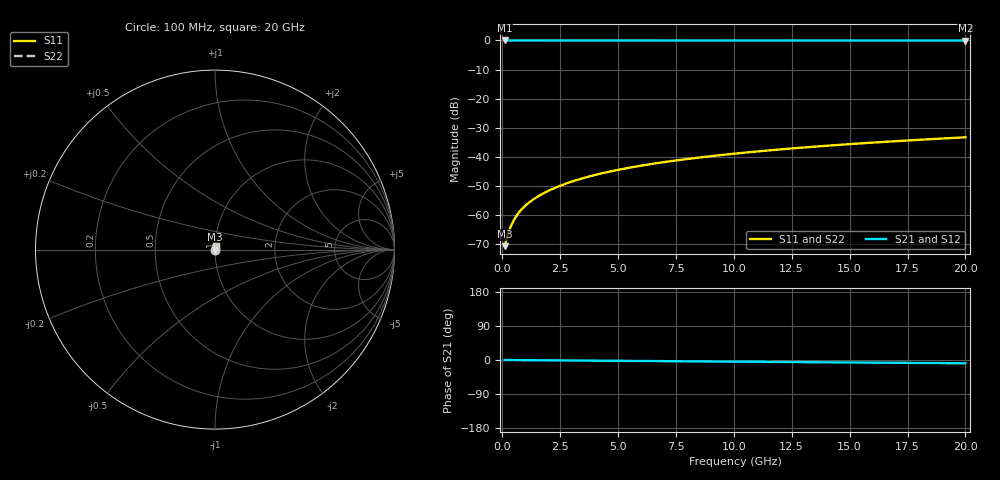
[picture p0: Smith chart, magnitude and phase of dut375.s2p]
! Touchstone file exported from HFSS 2026.1.0
!  File:  C:/ffzhzh/LocalFiles/Ansys_Project_Files/temp_train_TSV_375_1783019660_46388.aedt
!  Generated:  03:16:30 AM Jul  3, 2026
!  Design:  TSV
!  Project:  temp_train_TSV_375_1783019660_46388
! Variables:
!  h_bsmrdl = 2um
!  h_ox = 20um
!  h_rdl = 5um
!  h_sub = 88.97um
!  h_tmrdl = 5um
!  h_tsv = 88.97um
!  h_via = 3um
!  l_bsmrdl = 300um
!  l_sub = 414.02um
!  l_tmrdl = 200um
!  m_sub = 200um
!  pitch = 34.21um
!  r_tsv = 7.01um
!  s_tmrdl = 10um
!  w_bsmrdl = 18um
!  w_sub = 500um
!  w_tmrdl = 12um
!  x_tsv_center1 = 206um
!  x_tsv_center2 = 524um
!  x_tsv_center3 = 736um
!  x_tsv_center4 = 1054um
!  x_tsv_center5 = 1266um
!  x_tsv_center6 = 1584um
# GHz S MA R 50.000000
! Terminal data exported
! Port[1] = TSV1_1_T1
! Port[2] = TSV1_1_T2
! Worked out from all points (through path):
!   200 points, 100 MHz to 20 GHz, reference 50 ohm
!   highest |S21| = 0.00 dB at 100 MHz (marker M1); lowest = 0.0 dB at 20 GHz (marker M2)
!   group delay of S21, straight-line fit = 1.2 ps
!   lowest |S11| = -70.7 dB at 100 MHz (marker M3), VSWR 1.00, Z = 50 + j0.0159 ohm
!   |S11| at or under -10 dB: start of sweep to end of sweep
!   |S22| runs from -70.7 to -33.3 dB; largest |S21 - S12| = 3e-15
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0.1  0.000293 33.0  0.9998 -0.0  0.9998 -0.0  0.000293 33.0
! Gamma 0 0 0 0
! Port Impedance 50 0 50 0
0.2  0.0004085 50.7  0.9997 -0.1  0.9997 -0.1  0.0004085 50.7
0.3  0.0005446 59.3  0.9997 -0.1  0.9997 -0.1  0.0005446 59.3
0.4  0.0006847 63.8  0.9997 -0.2  0.9997 -0.2  0.0006847 63.8
0.5  0.0008229 66.4  0.9997 -0.2  0.9997 -0.2  0.0008229 66.4
0.6  0.0009575 68.1  0.9996 -0.3  0.9996 -0.3  0.0009575 68.1
0.7  0.001088 69.3  0.9996 -0.3  0.9996 -0.3  0.001088 69.3
0.8  0.001215 70.2  0.9996 -0.4  0.9996 -0.4  0.001215 70.2
1  0.00146 71.6  0.9995 -0.5  0.9995 -0.5  0.00146 71.6
1.4  0.001931 73.7  0.9995 -0.6  0.9995 -0.6  0.001931 73.7
1.7  0.002278 74.9  0.9994 -0.8  0.9994 -0.8  0.002278 74.9
2  0.002622 75.8  0.9994 -0.9  0.9994 -0.9  0.002622 75.8
2.7  0.003422 77.3  0.9993 -1.2  0.9993 -1.2  0.003422 77.3
3.5  0.004327 78.2  0.9992 -1.5  0.9992 -1.5  0.004327 78.2
4.2  0.00511 78.6  0.9991 -1.8  0.9991 -1.8  0.00511 78.6
5  0.005993 78.9  0.9991 -2.2  0.9991 -2.2  0.005993 78.9
6.8  0.007944 79.1  0.9989 -3.0  0.9989 -3.0  0.007944 79.1
8.3  0.009546 79.1  0.9988 -3.6  0.9988 -3.6  0.009546 79.1
10.1  0.01145 79.0  0.9986 -4.4  0.9986 -4.4  0.01145 79.0
13.4  0.01491 78.4  0.9984 -5.8  0.9984 -5.8  0.01491 78.4
16.7  0.01833 77.5  0.9981 -7.2  0.9981 -7.2  0.01833 77.5
20  0.02171 76.4  0.9979 -8.7  0.9979 -8.7  0.02171 76.4
